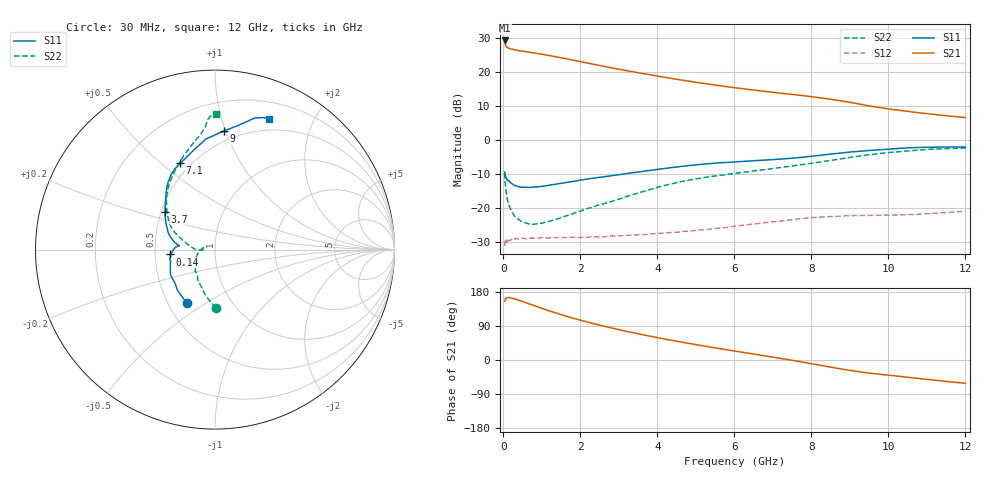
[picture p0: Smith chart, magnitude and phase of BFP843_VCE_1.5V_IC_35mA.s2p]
! Infineon Technologies  Discrete & RF Semiconductors
! BFP843
! VCE =  1.5 V,  IC =  35 mA
! Common Emitter S-Parameters:  Aug 2013
# GHz  S  MA  R  50
!  f  S11  S21  S12  S22
! GHz  MAG  ANG  MAG  ANG  MAG  ANG  MAG  ANG
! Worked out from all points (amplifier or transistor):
!   103 points, 30 MHz to 12 GHz, reference 50 ohm
!   highest |S21| = 29.3 dB at 30 MHz (marker M1)
!   |S21| within 3 dB of that: start of sweep to 399.4 MHz
!   unconditionally stable (mu >= 1): 88.81 MHz to 10.6 GHz
!   at 400 MHz: K = 1.04, MAG = 26.5 dB, |S12| = -29.2 dB
!   at 3.7 GHz: K = 1.36, MAG = 20.1 dB, |S12| = -27.9 dB
!   at 12 GHz: K = 0.86, MSG = 13.8 dB, |S12| = -21.0 dB
!   S11 on the Smith chart (normalised r, x): 30 MHz: 0.62, -0.41; 140 MHz: 0.60, -0.03; 3.7 GHz: 0.52, +0.25; 7.1 GHz: 0.44, +0.58; 9 GHz: 0.42, +0.99; 12 GHz: 0.37, +1.43
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0.03  0.3359 -118.2  29.14 154.9  0.0273 25.5  0.3261 -89.5
0.04  0.3087 -132.5  26.58 157.3  0.0304 19.1  0.2611 -101.6
0.05  0.2911 -139.8  25.26 160.5  0.0323 20.9  0.2204 -110.5
0.07  0.2757 -154.4  23.71 162.9  0.032 13.9  0.1675 -126.0
0.1  0.2541 -165.5  22.94 164.5  0.0303 11.0  0.1334 -143.0
0.14  0.2513 -173.9  22.39 164.7  0.0334 8.4  0.1104 -158.3
0.3  0.212 175.4  21.16 161.0  0.0346 7.1  0.0747 178.3
0.8  0.2026 173.7  19.08 143.5  0.0359 5.3  0.0573 172.6
1.1  0.2106 172.3  17.85 132.9  0.0361 5.2  0.0619 177.5
1.6  0.2346 168.5  15.78 116.7  0.0365 6.1  0.0753 -177.7
2.1  0.2612 163.3  13.82 102.3  0.0366 7.8  0.0943 -178.7
2.8  0.2974 154.7  11.55 84.7  0.0388 9.2  0.123 175.9
3.2  0.3198 149.4  10.48 75.6  0.0392 10.3  0.1468 170.4
3.7  0.3492 142.7  9.327 65.1  0.0404 12.5  0.1785 165.0
4.1  0.3744 137.6  8.521 57.1  0.0424 13.5  0.2078 160.7
5  0.4297 128.9  7.066 40.6  0.0467 14.7  0.2671 153.8
6.1  0.4777 121.4  5.783 22.1  0.0543 15.1  0.3265 144.0
7.1  0.5188 111.9  4.951 5.8  0.0629 11.6  0.3871 134.4
8.5  0.6191 94.5  3.974 -18.9  0.0746 1.8  0.4994 116.1
9  0.6633 85.6  3.581 -27.5  0.0767 -2.4  0.5534 108.2
10.5  0.7655 73.2  2.635 -45.5  0.0794 -10.0  0.688 94.4
12  0.7875 67.4  2.136 -61.6  0.0894 -17.1  0.7579 89.5
